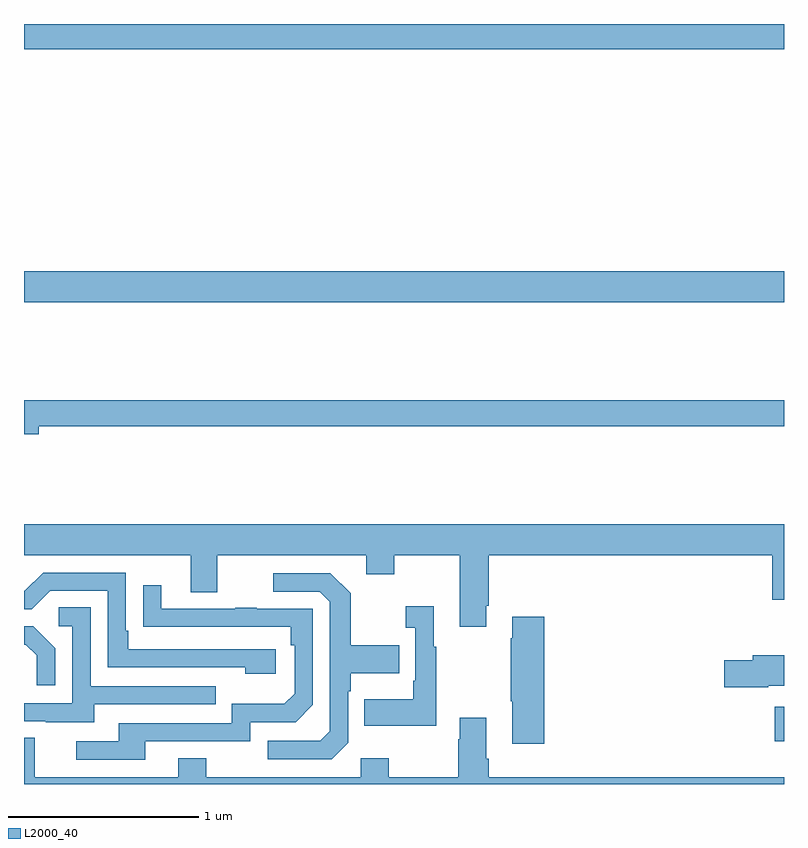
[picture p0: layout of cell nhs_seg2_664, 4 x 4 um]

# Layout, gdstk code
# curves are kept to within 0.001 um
import gdstk
lib = gdstk.Library(unit=1e-6, precision=1e-09)
def R(c, l, rs):  # rectangles x0, y0, x1, y1
    for r in rs: c.add(gdstk.rectangle(r[:2], r[2:], *l))
def P(c, l, *ps):  # polygons
    for p in ps: c.add(gdstk.Polygon(p, *l))
L2000_40 = (2000, 40)

nhs_seg2_664 = lib.new_cell('nhs_seg2_664')
R(nhs_seg2_664, L2000_40, [(148.951,612.024,149,612.207), (145,614.336,149,614.5), (145,615.668,149,615.8)])
P(nhs_seg2_664, L2000_40, [(145.078,613.684),(149,613.684),(149,613.82),(145,613.82),(145,613.642),(145.078,613.642)],
  [(147.433,612.739),(147.446,612.739),(147.446,613.004),(148.937,613.004),(148.937,612.771),(149,612.771),(149,613.168),(145,613.168),(145,613.004),(145.877,613.004),(145.877,612.81),(146.017,612.81),(146.017,613.004),(146.801,613.004),(146.801,612.905),(146.949,612.905),(146.949,613.004),(147.293,613.004),(147.293,612.627),(147.433,612.627)],
  [(146.326,612.51),(145.549,612.51),(145.549,612.607),(145.536,612.607),(145.536,612.912),(145.101,612.912),(145.005,612.816),(145,612.816),(145,612.72),(145.041,612.72),(145.137,612.816),(145.44,612.816),(145.44,612.414),(146.165,612.414),(146.165,612.38),(146.326,612.38)],
  [(146.706,612.018),(146.706,612.287),(146.719,612.287),(146.719,612.383),(146.975,612.383),(146.975,612.531),(146.719,612.531),(146.719,612.803),(146.613,612.909),(146.313,612.909),(146.313,612.813),(146.556,612.813),(146.61,612.759),(146.61,612.078),(146.559,612.027),(146.283,612.027),(146.283,611.931),(146.619,611.931)],
  [(145.639,612.024),(146.19,612.024),(146.19,612.126),(146.43,612.126),(146.52,612.216),(146.52,612.723),(146.225,612.723),(146.225,612.728),(146.113,612.728),(146.113,612.723),(145.723,612.723),(145.723,612.847),(145.627,612.847),(145.627,612.628),(146.404,612.627),(146.404,612.53),(146.424,612.53),(146.424,612.276),(146.371,612.223),(146.094,612.223),(146.094,612.12),(145.499,612.12),(145.499,612.024),(145.275,612.024),(145.275,611.928),(145.639,611.928)],
  [(147.169,612.523),(147.157,612.523),(147.157,612.736),(147.009,612.736),(147.009,612.623),(147.06,612.623),(147.06,612.343),(147.048,612.343),(147.048,612.247),(146.791,612.247),(146.791,612.107),(147.169,612.107)],
  [(145.369,612.219),(146.009,612.219),(146.009,612.315),(145.35,612.315),(145.35,612.731),(145.182,612.731),(145.182,612.63),(145.254,612.63),(145.254,612.225),(145,612.225),(145,612.129),(145.115,612.129),(145.115,612.125),(145.369,612.125)],
  [(147.737,612.679),(147.569,612.679),(147.569,612.566),(147.562,612.566),(147.562,612.235),(147.569,612.235),(147.569,612.012),(147.737,612.012)],
  [(145.164,612.514),(145.048,612.63),(145,612.63),(145,612.534),(145.01,612.534),(145.067,612.477),(145.067,612.321),(145.164,612.321)],
  [(148.916,612.317),(149,612.317),(149,612.477),(148.835,612.477),(148.835,612.452),(148.686,612.452),(148.686,612.31),(148.916,612.31)],
  [(149,611.836),(147.446,611.836),(147.446,611.932),(147.433,611.932),(147.433,612.148),(147.293,612.148),(147.293,612.035),(147.286,612.035),(147.286,611.836),(146.919,611.836),(146.919,611.935),(146.772,611.935),(146.772,611.836),(145.959,611.836),(145.959,611.935),(145.811,611.935),(145.811,611.836),(145.057,611.836),(145.057,612.044),(145,612.044),(145,611.8),(149,611.8)])

lib.write_gds('nhs_seg2_664.gds')
